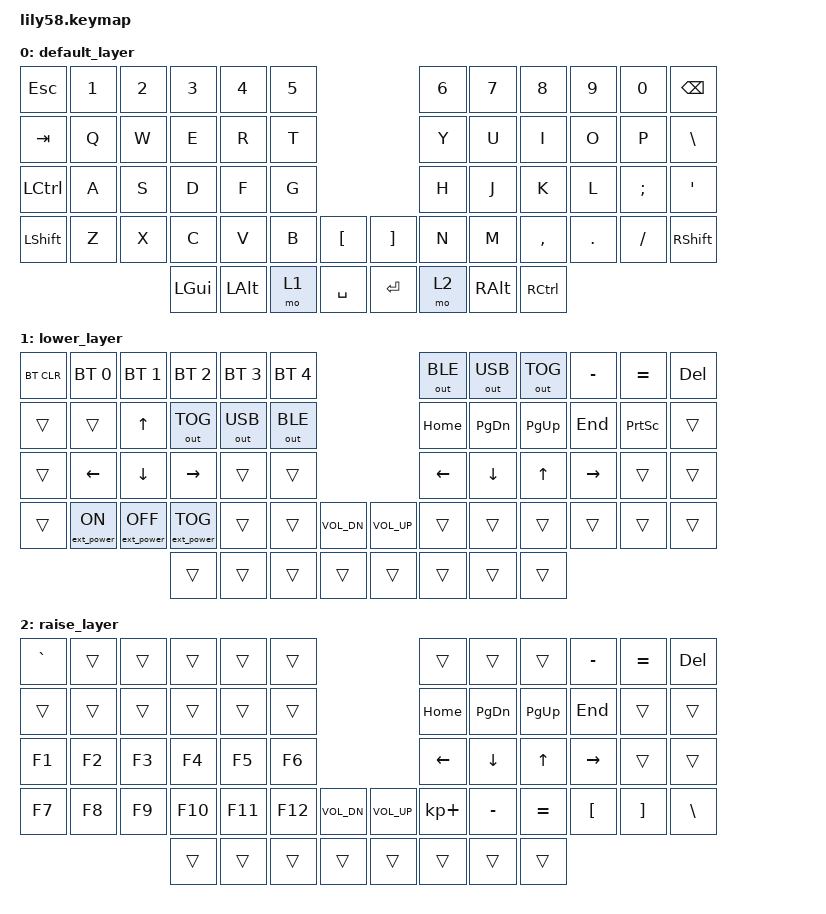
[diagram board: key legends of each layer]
/*
 * Copyright (c) 2020 The ZMK Contributors
 *
 * SPDX-License-Identifier: MIT
 */

#include <behaviors.dtsi>
#include <dt-bindings/zmk/bt.h>
#include <dt-bindings/zmk/ext_power.h>
#include <dt-bindings/zmk/keys.h>
#include <dt-bindings/zmk/outputs.h>

/ {
    keymap {
        compatible = "zmk,keymap";

        default_layer {
            // ------------------------------------------------------------------------------------------------------------
            // |  ESC  |  1  |  2  |  3   |  4   |  5   |                   |  6   |  7    |  8    |  9   |   0   |   `   |
            // |  TAB  |  Q  |  W  |  E   |  R   |  T   |                   |  Y   |  U    |  I    |  O   |   P   |   -   |
            // |  CTRL |  A  |  S  |  D   |  F   |  G   |                   |  H   |  J    |  K    |  L   |   ;   |   '   |
            // | SHIFT |  Z  |  X  |  C   |  V   |  B   |   "["  |  |  "]"  |  N   |  M    |  ,    |  .   |   /   | SHIFT |
            //                     | ALT  | GUI  | LOWER|  SPACE |  | ENTER | RAISE| BSPC  | GUI   |

            bindings = <
&kp ESC    &kp N1  &kp N2  &kp N3    &kp N4    &kp N5                       &kp N6  &kp N7    &kp N8     &kp N9   &kp N0    &kp BACKSPACE
&kp TAB    &kp Q   &kp W   &kp E     &kp R     &kp T                        &kp Y   &kp U     &kp I      &kp O    &kp P     &kp BACKSLASH
&kp LCTRL  &kp A   &kp S   &kp D     &kp F     &kp G                        &kp H   &kp J     &kp K      &kp L    &kp SEMI  &kp SQT
&kp LSHFT  &kp Z   &kp X   &kp C     &kp V     &kp B   &kp LBKT   &kp RBKT  &kp N   &kp M     &kp COMMA  &kp DOT  &kp FSLH  &kp RSHFT
                           &kp LGUI  &kp LALT  &mo 1   &kp SPACE  &kp RET   &mo 2   &kp RALT  &kp RCTRL
            >;
        };

        lower_layer {
            // ------------------------------------------------------------------------------------------------------------
            // | BTCLR | BT1 | BT2 |  BT3 |  BT4 |  BT5 |                   |      |       |       |      |       |       |
            // |  F1   |  F2 |  F3 |  F4  |  F5  |  F6  |                   |  F7  |  F8   |  F9   |  F10 |  F11  |  F12  |
            // |   `   |  !  |  @  |  #   |  $   |  %   |                   |  ^   |  &    |  *    |  (   |   )   |   ~   |
            // |       |     |     |      |      |      |        |  |       |      |  _    |  +    |  {   |   }   |  "|"  |
            //                     |      |      |      |        |  |       |      |       |       |

            bindings = <
&bt BT_CLR  &bt BT_SEL 0      &bt BT_SEL 1       &bt BT_SEL 2       &bt BT_SEL 3  &bt BT_SEL 4                              &out OUT_BLE  &out OUT_USB   &out OUT_TOG  &kp MINUS  &kp EQUAL        &kp DEL
&trans      &trans            &kp UP             &out OUT_TOG       &out OUT_USB  &out OUT_BLE                              &kp HOME      &kp PAGE_DOWN  &kp PG_UP     &kp END    &kp PRINTSCREEN  &trans
&trans      &kp LEFT          &kp DOWN           &kp RIGHT          &trans        &trans                                    &kp LEFT      &kp DOWN       &kp UP        &kp RIGHT  &trans           &trans
&trans      &ext_power EP_ON  &ext_power EP_OFF  &ext_power EP_TOG  &trans        &trans        &kp K_VOL_DN  &kp K_VOL_UP  &trans        &trans         &trans        &trans     &trans           &trans
                                                 &trans             &trans        &trans        &trans        &trans        &trans        &trans         &trans
            >;
        };

        raise_layer {
            // ------------------------------------------------------------------------------------------------------------
            // |       |     |     |      |      |      |                   |      |       |       |      |       |       |
            // |   `   |  1  |  2  |  3   |  4   |  5   |                   |  6   |   7   |   8   |  9   |   0   |       |
            // |   F1  |  F2 |  F3 |  F4  |  F5  |  F6  |                   |      |   <-  |   v   |  ^   |  ->   |       |
            // |   F7  |  F8 |  F9 |  F10 |  F11 |  F12 |        |  |       |  +   |   -   |   =   |  [   |   ]   |   \   |
            //                     |      |      |      |        |  |       |      |       |       |

            bindings = <
&kp GRAVE  &trans  &trans  &trans   &trans   &trans                               &trans       &trans     &trans     &kp MINUS  &kp EQUAL  &kp DEL
&trans     &trans  &trans  &trans   &trans   &trans                               &kp HOME     &kp PG_DN  &kp PG_UP  &kp END    &trans     &trans
&kp F1     &kp F2  &kp F3  &kp F4   &kp F5   &kp F6                               &kp LEFT     &kp DOWN   &kp UP     &kp RIGHT  &trans     &trans
&kp F7     &kp F8  &kp F9  &kp F10  &kp F11  &kp F12  &kp K_VOL_DN  &kp K_VOL_UP  &kp KP_PLUS  &kp MINUS  &kp EQUAL  &kp LBKT   &kp RBKT   &kp BSLH
                           &trans   &trans   &trans   &trans        &trans        &trans       &trans     &trans
            >;
        };
    };
};
